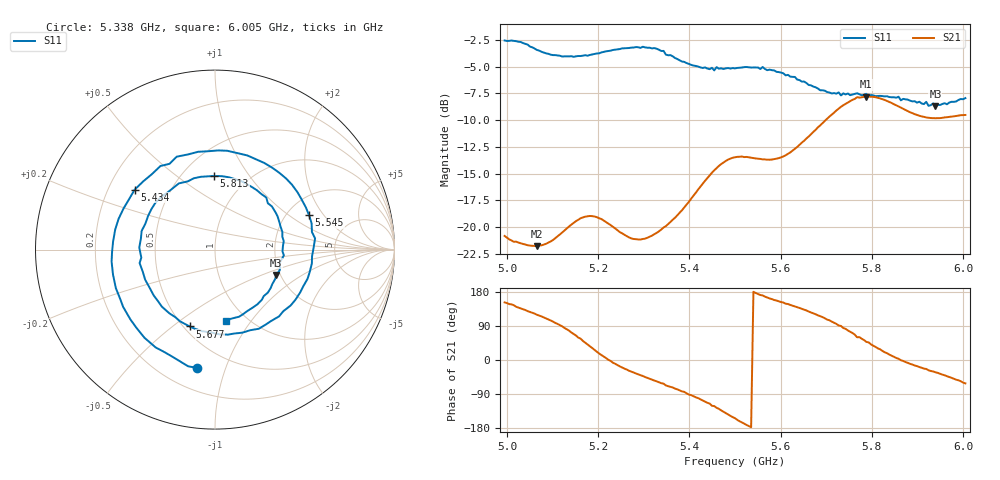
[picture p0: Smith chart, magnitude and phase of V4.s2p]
!File created by NanoVNA
# Hz S RI R 50
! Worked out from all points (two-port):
!   201 points, 4.995 GHz to 6.005 GHz, reference 50 ohm
!   highest |S21| = -7.79 dB at 5.788 GHz (marker M1); lowest = -21.8 dB at 5.066 GHz (marker M2)
!   |S21| within 3 dB of the highest: 5.679 GHz to end of sweep
!   lowest |S11| = -8.7 dB at 5.939 GHz (marker M3), VSWR 2.17, Z = 95 - j30.9 ohm
!   |S11| at or under -10 dB: nowhere
!   S12 and S22 are empty: the file has one direction only
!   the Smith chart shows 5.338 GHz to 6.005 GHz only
!   S11 on the Smith chart (normalised r, x): 5.338 GHz: 0.34, -0.80; 5.434 GHz: 0.31, +0.30; 5.545 GHz: 2.62, +1.45; 5.677 GHz: 0.54, -0.58; 5.813 GHz: 0.71, +0.70; 6.005 GHz: 0.80, -0.76
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4.995e9  0.234 -0.7091  -0.0802 0.0426  0 0  0 0
5.03035e9  -0.2842 -0.6776  -0.0604 0.0582  0 0  0 0
5.0657e9  -0.6248 -0.2535  -0.04 0.0709  0 0  0 0
5.1061e9  -0.5663 0.2932  -0.0121 0.0878  0 0  0 0
5.1667e9  0.1028 0.6254  0.0709 0.0853  0 0  0 0
5.25255e9  0.6808 -0.08  0.0879 -0.0317  0 0  0 0
5.2879e9  0.5199 -0.4598  0.0692 -0.0534  0 0  0 0
5.33335e9  -0.0194 -0.6755  0.0493 -0.0817  0 0  0 0
5.3384e9  -0.0985 -0.6592  0.0469 -0.0853  0 0  0 0
5.3889e9  -0.5523 -0.2152  0.0127 -0.123  0 0  0 0
5.43435e9  -0.4476 0.3338  -0.0563 -0.1547  0 0  0 0
5.5e9  0.2232 0.5055  -0.1901 -0.0941  0 0  0 0
5.54545e9  0.5242 0.1912  -0.209 0.0116  0 0  0 0
5.6212e9  0.3111 -0.3986  -0.1837 0.1273  0 0  0 0
5.6717e9  -0.1188 -0.4385  -0.1525 0.2334  0 0  0 0
5.67675e9  -0.1413 -0.4282  -0.1457 0.245  0 0  0 0
5.72725e9  -0.42 -0.0751  -0.00702 0.3582  0 0  0 0
5.78785e9  -0.2012 0.3689  0.2738 0.3026  0 0  0 0
5.8131e9  -0.00458 0.4103  0.346 0.2055  0 0  0 0
5.83835e9  0.1707 0.3682  0.3731 0.0941  0 0  0 0
5.93935e9  0.3403 -0.1407  0.2729 -0.1729  0 0  0 0
6.005e9  0.0593 -0.3969  0.1585 -0.2946  0 0  0 0
